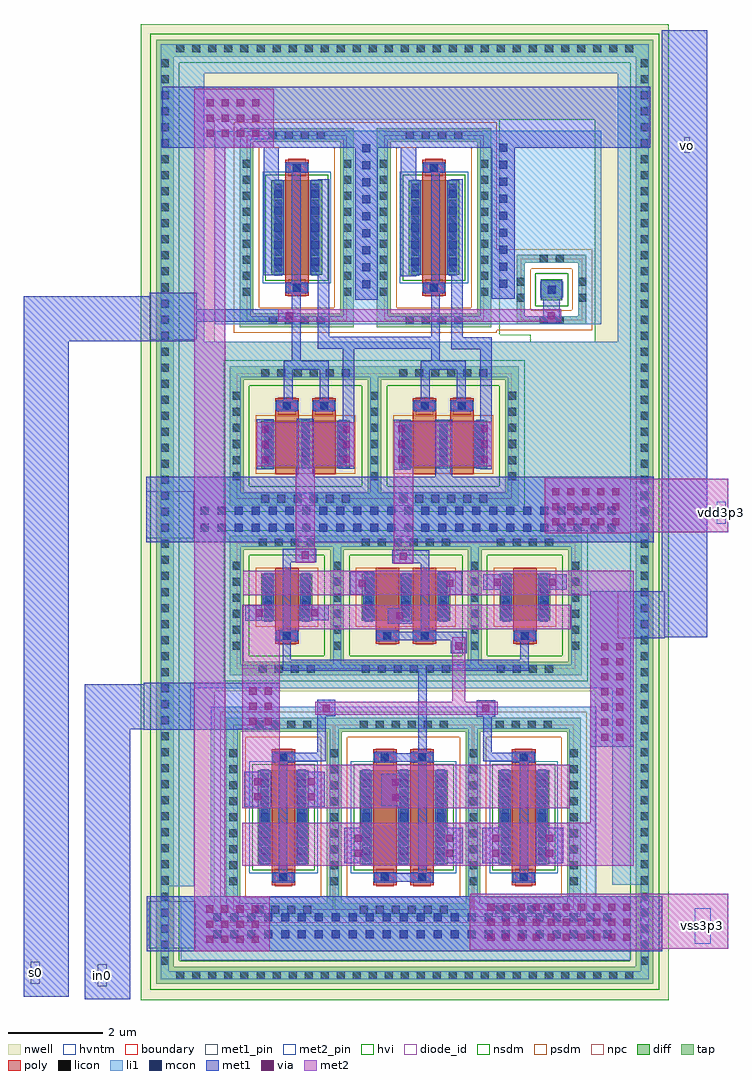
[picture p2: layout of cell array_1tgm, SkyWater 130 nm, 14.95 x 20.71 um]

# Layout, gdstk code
from math import pi, radians
import gdstk
lib = gdstk.Library(unit=1e-6, precision=1e-09)
def R(c, l, rs):  # rectangles x0, y0, x1, y1
    for r in rs: c.add(gdstk.rectangle(r[:2], r[2:], *l))
def A(c, l, x, y, w, h, nx, ny, dx, dy):  # array of equal rectangles
    R(c, l, [(x+i*dx, y+j*dy, x+i*dx+w, y+j*dy+h) for i in range(nx) for j in range(ny)])
nwell = (64, 20)
diff = (65, 20)
tap = (65, 44)
poly = (66, 20)
licon = (66, 44)
li1 = (67, 20)
mcon = (67, 44)
met1_pin = (68, 16)
met1 = (68, 20)
via = (68, 44)
met2_pin = (69, 16)
met2 = (69, 20)
hvi = (75, 20)
diode_id = (81, 23)
nsdm = (93, 44)
psdm = (94, 20)
npc = (95, 20)
hvntm = (125, 20)
boundary = (235, 4)

sky130_fd_pr__pfet_g5v0d = lib.new_cell('sky130_fd_pr__pfet_g5v0d10v5_U6NWY6')
R(sky130_fd_pr__pfet_g5v0d, nwell, [(-1.54,-1.81,1.54,1.81)])
R(sky130_fd_pr__pfet_g5v0d, diff, [(-0.54,-0.32,0.54,0.68)])
R(sky130_fd_pr__pfet_g5v0d, tap, [(-1.21,-1.48,1.21,-1.19), (-1.21,-1.19,-0.92,1.19), (0.92,-1.19,1.21,1.19), (-1.21,1.19,1.21,1.48)])
R(sky130_fd_pr__pfet_g5v0d, poly, [(-0.25,-0.805,0.25,0.81)])
A(sky130_fd_pr__pfet_g5v0d, licon, -0.595, -1.42, 0.17, 0.17, 4, 2, 0.34, 2.67)
A(sky130_fd_pr__pfet_g5v0d, licon, -1.15, -0.935, 0.17, 0.17, 1, 6, 0, 0.34)
A(sky130_fd_pr__pfet_g5v0d, licon, 0.98, -0.935, 0.17, 0.17, 1, 6, 0, 0.34)
A(sky130_fd_pr__pfet_g5v0d, licon, -0.48, -0.245, 0.17, 0.17, 1, 3, 0, 0.34)
A(sky130_fd_pr__pfet_g5v0d, licon, 0.31, -0.245, 0.17, 0.17, 1, 3, 0, 0.34)
R(sky130_fd_pr__pfet_g5v0d, licon, [(-0.085,-0.725,0.085,-0.555)])
R(sky130_fd_pr__pfet_g5v0d, li1, [(-1.15,-1.42,1.15,-1.25), (-1.15,-1.25,-0.98,1.25), (0.98,-1.25,1.15,1.25), (-0.25,-0.725,0.25,-0.555), (-0.48,-0.34,-0.31,0.7), (0.31,-0.34,0.48,0.7), (-1.15,1.25,1.15,1.42)])
R(sky130_fd_pr__pfet_g5v0d, mcon, [(-0.085,-0.725,0.085,-0.555), (-0.48,-0.085,-0.31,0.085), (0.31,-0.085,0.48,0.085), (-0.48,0.275,-0.31,0.445), (0.31,0.275,0.48,0.445)])
R(sky130_fd_pr__pfet_g5v0d, met1, [(-0.23,-0.755,0.23,-0.525), (-0.51,-0.32,-0.28,0.68), (0.28,-0.32,0.51,0.68)])
R(sky130_fd_pr__pfet_g5v0d, hvi, [(-1.54,-1.81,1.54,1.81)])
R(sky130_fd_pr__pfet_g5v0d, nsdm, [(-1.335,-1.605,1.335,-1.065), (-1.335,-1.065,-0.795,1.065), (0.795,-1.065,1.335,1.065), (-1.335,1.065,1.335,1.605)])
R(sky130_fd_pr__pfet_g5v0d, psdm, [(-0.665,-0.445,0.665,0.805)])
R(sky130_fd_pr__pfet_g5v0d, npc, [(-0.185,-0.825,0.185,-0.455)])
R(sky130_fd_pr__pfet_g5v0d, boundary, [(-1.065,-1.335,1.065,1.335)])

c_sky130_fd_pr__pfet_g5v0d = lib.new_cell('sky130_fd_pr__pfet_g5v0d10v5_U62SY6')
R(c_sky130_fd_pr__pfet_g5v0d, nwell, [(-1.935,-1.81,1.935,1.81)])
R(c_sky130_fd_pr__pfet_g5v0d, diff, [(-0.935,-0.32,0.935,0.68)])
R(c_sky130_fd_pr__pfet_g5v0d, tap, [(-1.605,-1.48,1.605,-1.19), (-1.605,-1.19,-1.315,1.19), (1.315,-1.19,1.605,1.19), (-1.605,1.19,1.605,1.48)])
R(c_sky130_fd_pr__pfet_g5v0d, poly, [(-0.645,-0.805,-0.145,0.81), (0.145,-0.805,0.645,0.81)])
A(c_sky130_fd_pr__pfet_g5v0d, licon, -0.935, -1.42, 0.17, 0.17, 6, 2, 0.34, 2.67)
A(c_sky130_fd_pr__pfet_g5v0d, licon, -1.545, -0.935, 0.17, 0.17, 1, 6, 0, 0.34)
A(c_sky130_fd_pr__pfet_g5v0d, licon, 1.375, -0.935, 0.17, 0.17, 1, 6, 0, 0.34)
A(c_sky130_fd_pr__pfet_g5v0d, licon, -0.875, -0.245, 0.17, 0.17, 3, 3, 0.79, 0.34)
R(c_sky130_fd_pr__pfet_g5v0d, licon, [(-0.48,-0.725,-0.31,-0.555), (0.31,-0.725,0.48,-0.555)])
A(c_sky130_fd_pr__pfet_g5v0d, li1, -0.875, -0.34, 0.17, 1.04, 3, 1, 0.79, 0)
R(c_sky130_fd_pr__pfet_g5v0d, li1, [(-1.545,-1.42,1.545,-1.25), (-1.545,-1.25,-1.375,1.25), (1.375,-1.25,1.545,1.25), (-0.645,-0.725,-0.145,-0.555), (0.145,-0.725,0.645,-0.555), (-1.545,1.25,1.545,1.42)])
A(c_sky130_fd_pr__pfet_g5v0d, mcon, -0.875, -0.085, 0.17, 0.17, 3, 2, 0.79, 0.36)
R(c_sky130_fd_pr__pfet_g5v0d, mcon, [(-0.48,-0.725,-0.31,-0.555), (0.31,-0.725,0.48,-0.555)])
A(c_sky130_fd_pr__pfet_g5v0d, met1, -0.905, -0.32, 0.23, 1, 3, 1, 0.79, 0)
R(c_sky130_fd_pr__pfet_g5v0d, met1, [(-0.625,-0.755,-0.165,-0.525), (0.165,-0.755,0.625,-0.525)])
R(c_sky130_fd_pr__pfet_g5v0d, hvi, [(-1.935,-1.81,1.935,1.81)])
R(c_sky130_fd_pr__pfet_g5v0d, nsdm, [(-1.73,-1.605,1.73,-1.065), (-1.73,-1.065,-1.19,1.065), (1.19,-1.065,1.73,1.065), (-1.73,1.065,1.73,1.605)])
R(c_sky130_fd_pr__pfet_g5v0d, psdm, [(-1.06,-0.445,1.06,0.805)])
R(c_sky130_fd_pr__pfet_g5v0d, npc, [(-0.58,-0.825,-0.21,-0.455), (0.21,-0.825,0.58,-0.455)])
R(c_sky130_fd_pr__pfet_g5v0d, boundary, [(-1.46,-1.335,1.46,1.335)])

sky130_fd_pr__nfet_g5v0d = lib.new_cell('sky130_fd_pr__nfet_g5v0d10v5_WSEQJ8')
R(sky130_fd_pr__nfet_g5v0d, diff, [(-0.54,-1,0.54,1)])
R(sky130_fd_pr__nfet_g5v0d, tap, [(-1.21,-2.11,1.21,-1.82), (-1.21,-1.82,-0.92,1.82), (0.92,-1.82,1.21,1.82), (-1.21,1.82,1.21,2.11)])
R(sky130_fd_pr__nfet_g5v0d, poly, [(-0.25,-1.44,0.25,1.44)])
A(sky130_fd_pr__nfet_g5v0d, licon, -0.595, -2.05, 0.17, 0.17, 4, 2, 0.34, 3.93)
A(sky130_fd_pr__nfet_g5v0d, licon, -1.15, -1.445, 0.17, 0.17, 1, 9, 0, 0.34)
A(sky130_fd_pr__nfet_g5v0d, licon, 0.98, -1.445, 0.17, 0.17, 1, 9, 0, 0.34)
A(sky130_fd_pr__nfet_g5v0d, licon, -0.48, -0.935, 0.17, 0.17, 1, 6, 0, 0.34)
A(sky130_fd_pr__nfet_g5v0d, licon, 0.31, -0.935, 0.17, 0.17, 1, 6, 0, 0.34)
R(sky130_fd_pr__nfet_g5v0d, licon, [(-0.085,-1.36,0.085,-1.19), (-0.085,1.19,0.085,1.36)])
R(sky130_fd_pr__nfet_g5v0d, li1, [(-1.15,-2.05,1.15,-1.88), (-1.15,-1.88,-0.98,1.88), (0.98,-1.88,1.15,1.88), (-0.25,-1.36,0.25,-1.19), (-0.48,-1.02,-0.31,1.02), (0.31,-1.02,0.48,1.02), (-0.25,1.19,0.25,1.36), (-1.15,1.88,1.15,2.05)])
A(sky130_fd_pr__nfet_g5v0d, mcon, -0.48, -0.805, 0.17, 0.17, 1, 5, 0, 0.36)
A(sky130_fd_pr__nfet_g5v0d, mcon, 0.31, -0.805, 0.17, 0.17, 1, 5, 0, 0.36)
R(sky130_fd_pr__nfet_g5v0d, mcon, [(-0.085,-1.36,0.085,-1.19), (-0.085,1.19,0.085,1.36)])
R(sky130_fd_pr__nfet_g5v0d, met1, [(-0.23,-1.39,0.23,-1.16), (-0.51,-1,-0.28,1), (0.28,-1,0.51,1), (-0.23,1.16,0.23,1.39)])
R(sky130_fd_pr__nfet_g5v0d, hvi, [(-1.395,-2.295,1.395,2.295)])
R(sky130_fd_pr__nfet_g5v0d, nsdm, [(-0.665,-1.125,0.665,1.125)])
R(sky130_fd_pr__nfet_g5v0d, psdm, [(-1.335,-2.235,1.335,-1.695), (-1.335,-1.695,-0.795,1.695), (0.795,-1.695,1.335,1.695), (-1.335,1.695,1.335,2.235)])
R(sky130_fd_pr__nfet_g5v0d, npc, [(-0.185,-1.46,0.185,-1.09), (-0.185,1.09,0.185,1.46)])
R(sky130_fd_pr__nfet_g5v0d, hvntm, [(-0.725,-1.185,0.725,1.185)])
R(sky130_fd_pr__nfet_g5v0d, boundary, [(-1.06,-1.96,1.06,1.96)])

c_sky130_fd_pr__nfet_g5v0d = lib.new_cell('sky130_fd_pr__nfet_g5v0d10v5_EJGQFX')
R(c_sky130_fd_pr__nfet_g5v0d, diff, [(-0.935,-1,0.935,1)])
R(c_sky130_fd_pr__nfet_g5v0d, tap, [(-1.605,-2.11,1.605,-1.82), (-1.605,-1.82,-1.315,1.82), (1.315,-1.82,1.605,1.82), (-1.605,1.82,1.605,2.11)])
R(c_sky130_fd_pr__nfet_g5v0d, poly, [(-0.645,-1.44,-0.145,1.44), (0.145,-1.44,0.645,1.44)])
A(c_sky130_fd_pr__nfet_g5v0d, licon, -0.935, -2.05, 0.17, 0.17, 6, 2, 0.34, 3.93)
A(c_sky130_fd_pr__nfet_g5v0d, licon, -0.875, -0.935, 0.17, 0.17, 3, 6, 0.79, 0.34)
R(c_sky130_fd_pr__nfet_g5v0d, licon, [(-0.48,-1.36,-0.31,-1.19), (0.31,-1.36,0.48,-1.19), (-0.48,1.19,-0.31,1.36), (0.31,1.19,0.48,1.36)])
A(c_sky130_fd_pr__nfet_g5v0d, li1, -0.875, -1.02, 0.17, 2.04, 3, 1, 0.79, 0)
R(c_sky130_fd_pr__nfet_g5v0d, li1, [(-1.545,-2.05,1.545,-1.88), (-1.545,-1.88,-1.375,1.88), (1.375,-1.88,1.545,1.88), (-0.645,-1.36,-0.145,-1.19), (0.145,-1.36,0.645,-1.19), (-0.645,1.19,-0.145,1.36), (0.145,1.19,0.645,1.36), (-1.545,1.88,1.545,2.05)])
A(c_sky130_fd_pr__nfet_g5v0d, mcon, -0.875, -0.805, 0.17, 0.17, 3, 5, 0.79, 0.36)
R(c_sky130_fd_pr__nfet_g5v0d, mcon, [(-0.48,-1.36,-0.31,-1.19), (0.31,-1.36,0.48,-1.19), (-0.48,1.19,-0.31,1.36), (0.31,1.19,0.48,1.36)])
A(c_sky130_fd_pr__nfet_g5v0d, met1, -0.905, -1, 0.23, 2, 3, 1, 0.79, 0)
R(c_sky130_fd_pr__nfet_g5v0d, met1, [(-0.625,-1.39,-0.165,-1.16), (0.165,-1.39,0.625,-1.16), (-0.625,1.16,-0.165,1.39), (0.165,1.16,0.625,1.39)])
R(c_sky130_fd_pr__nfet_g5v0d, hvi, [(-1.79,-2.295,1.79,2.295)])
R(c_sky130_fd_pr__nfet_g5v0d, nsdm, [(-1.06,-1.125,1.06,1.125)])
R(c_sky130_fd_pr__nfet_g5v0d, psdm, [(-1.73,-2.235,1.73,-1.695), (-1.73,-1.695,-1.19,1.695), (1.19,-1.695,1.73,1.695), (-1.73,1.695,1.73,2.235)])
R(c_sky130_fd_pr__nfet_g5v0d, npc, [(-0.58,-1.46,-0.21,-1.09), (0.21,-1.46,0.58,-1.09), (-0.58,1.09,-0.21,1.46), (0.21,1.09,0.58,1.46)])
R(c_sky130_fd_pr__nfet_g5v0d, hvntm, [(-1.12,-1.185,1.12,1.185)])
R(c_sky130_fd_pr__nfet_g5v0d, boundary, [(-1.46,-1.965,1.46,1.965)])

sky130_fd_pr__diode_pw2n = lib.new_cell('sky130_fd_pr__diode_pw2nd_05v5_FT76RJ')
R(sky130_fd_pr__diode_pw2n, diff, [(-0.225,-0.225,0.225,0.225)])
R(sky130_fd_pr__diode_pw2n, tap, [(-0.735,-0.735,0.735,-0.565), (-0.735,-0.565,-0.565,0.565), (0.565,-0.565,0.735,0.565), (-0.735,0.565,0.735,0.735)])
R(sky130_fd_pr__diode_pw2n, licon, [(-0.255,-0.735,-0.085,-0.565), (0.085,-0.735,0.255,-0.565), (-0.735,-0.255,-0.565,-0.085), (0.565,-0.255,0.735,-0.085), (-0.085,-0.085,0.085,0.085), (-0.735,0.085,-0.565,0.255), (0.565,0.085,0.735,0.255), (-0.255,0.565,-0.085,0.735), (0.085,0.565,0.255,0.735)])
R(sky130_fd_pr__diode_pw2n, li1, [(-0.735,-0.735,0.735,-0.565), (-0.735,-0.565,-0.565,0.565), (0.565,-0.565,0.735,0.565), (-0.245,-0.165,0.245,0.165), (-0.735,0.565,0.735,0.735)])
R(sky130_fd_pr__diode_pw2n, mcon, [(-0.085,-0.085,0.085,0.085)])
R(sky130_fd_pr__diode_pw2n, met1, [(-0.225,-0.195,0.225,0.195)])
R(sky130_fd_pr__diode_pw2n, diode_id, [(-0.225,-0.225,0.225,0.225)])
R(sky130_fd_pr__diode_pw2n, nsdm, [(-0.35,-0.35,0.35,0.35)])
R(sky130_fd_pr__diode_pw2n, psdm, [(-0.86,-0.86,0.86,-0.44), (-0.86,-0.44,-0.44,0.44), (0.44,-0.44,0.86,0.44), (-0.86,0.44,0.86,0.86)])
R(sky130_fd_pr__diode_pw2n, boundary, [(-0.65,-0.65,0.65,0.65)])

tg4dm = lib.new_cell('tg4dm')
R(tg4dm, nwell, [(1.505,-11.555,12.715,-9.97), (1.505,-9.97,3.08,1.865), (11.14,-9.97,12.715,-1.485), (9.785,-1.485,12.715,1.865), (1.505,1.865,12.715,2.41), (1.505,2.41,3.08,7.12), (11.14,2.41,12.715,7.12), (1.505,7.12,12.715,9.15)])
R(tg4dm, tap, [(1.835,-11.215,12.385,-10.845), (1.835,-10.845,2.205,8.45), (12.015,-10.845,12.385,8.45), (1.835,8.45,12.385,8.82)])
A(tg4dm, licon, 2.265, -11.115, 0.17, 0.17, 29, 2, 0.34, 19.665)
A(tg4dm, licon, 1.935, -10.805, 0.17, 0.17, 1, 57, 0, 0.34)
A(tg4dm, licon, 12.115, -10.805, 0.17, 0.17, 1, 57, 0, 0.34)
R(tg4dm, li1, [(1.935,-11.115,12.285,-10.945), (1.935,-10.945,2.105,-9.14), (12.115,-10.945,12.285,-9.105), (2.355,-10.715,11.89,-9.35), (2.995,-9.35,3.57,-5.775), (10.6,-9.35,11.175,-5.775), (1.935,-9.14,2.64,-4.94), (11.51,-9.105,12.285,-4.94), (2.995,-5.775,11.175,-5.33), (1.935,-4.94,12.285,-4.47), (1.935,-4.47,3.56,-1.87), (10.7,-4.47,12.285,-1.87), (1.935,-1.87,12.285,-0.79), (1.935,-0.79,3.56,1.71), (9.35,-0.79,12.285,1.71), (1.935,1.71,12.285,2.41), (1.935,2.41,2.855,8.105), (11.625,2.41,12.285,8.105), (3.08,2.78,3.84,6.88), (5.845,2.78,6.715,6.885), (8.765,2.78,9.635,4.235), (10.82,2.78,11.275,4.235), (8.765,4.235,11.275,6.885), (1.935,8.105,12.285,8.72)])
A(tg4dm, mcon, 3.045, -10.245, 0.17, 0.17, 24, 2, 0.36, 0.36)
A(tg4dm, mcon, 2.78, -1.625, 0.17, 0.17, 25, 2, 0.36, 0.36)
A(tg4dm, mcon, 6.21, 3.545, 0.17, 0.17, 1, 9, 0, 0.36)
A(tg4dm, mcon, 9.115, 3.555, 0.17, 0.17, 1, 9, 0, 0.36)
R(tg4dm, met1_pin, [(1.68,-10.455,2.68,-9.455), (1.57,-5.82,2.57,-4.82), (11.63,-3.88,12.63,-2.88), (1.63,-1.76,2.63,-0.76), (1.7,2.45,2.7,3.45)])
R(tg4dm, met1, [(1.64,-10.525,12.575,-9.35), (6.735,-9.045,7.575,-8.865), (9.55,-8.93,9.73,-6.49), (4.435,-8.92,4.615,-6.485), (7.395,-8.865,7.575,-6.5), (5.83,-8.65,6.41,-7.905), (7.76,-8.65,8.34,-7.905), (8.75,-8.65,9.33,-7.905), (9.89,-8.65,10.47,-7.905), (3.7,-7.455,4.28,-6.71), (4.835,-7.455,5.415,-6.71), (6.615,-7.44,7.2,-6.76), (6.61,-6.5,7.575,-6.32), (8.78,-6.49,9.745,-6.31), (4.435,-6.485,5.435,-6.445), (4.47,-6.445,5.435,-6.305), (7.395,-6.32,7.575,-4.575), (8.78,-6.31,8.96,-5.545), (5.255,-6.305,5.435,-5.535), (11.045,-6.18,11.965,-3.88), (1.57,-5.82,4.455,-4.82), (8.64,-5.545,9.025,-5.195), (5.255,-5.535,5.64,-5.185), (4.52,-4.575,9.74,-4.335), (4.52,-4.335,4.695,-2.265), (9.565,-4.335,9.74,-3.8), (8.085,-4.195,8.425,-3.925), (6.67,-3.925,8.425,-3.745), (11.045,-3.88,12.63,-2.88), (7.445,-3.745,7.625,-2.29), (6.75,-3.57,7.26,-3.24), (3.725,-3.505,4.335,-3.18), (4.885,-3.5,5.495,-3.175), (5.95,-2.955,6.46,-2.475), (7.81,-2.955,8.32,-2.475), (8.775,-2.85,9.38,-2.525), (9.94,-2.85,10.545,-2.525), (6.85,-2.29,7.625,-2.01), (4.52,-2.265,5.23,-1.985), (1.63,-1.84,12.39,-0.46), (4.82,-0.46,5.18,0.78), (7.76,-0.46,8.12,0.755), (6.875,-0.305,7.24,0.755), (3.965,-0.295,4.33,0.765), (8.715,-0.295,8.96,-0.22), (5.79,-0.285,6.035,-0.225), (5.735,-0.225,6.035,0.695), (8.66,-0.22,8.96,0.7), (5.79,0.695,6.035,2.265), (8.715,0.7,8.96,2.255), (4.545,1,4.73,1.82), (5.31,1,5.495,1.82), (7.45,1,7.635,1.82), (8.215,1,8.4,1.82), (4.545,1.82,5.495,2.005), (7.45,1.82,8.4,2.005), (4.715,2.005,4.9,2.835), (7.67,2.005,7.855,2.265), (8.1,2.255,8.96,2.5), (5.26,2.265,7.855,2.51), (1.7,2.45,2.7,2.835), (8.1,2.5,8.345,5.855), (5.26,2.51,5.505,5.86), (7.67,2.51,7.855,6.16), (10.045,2.805,10.4,3.695), (1.7,2.835,4.9,3.095), (1.7,3.095,2.7,3.45), (4.715,3.095,4.9,6.155), (6.055,3.295,6.54,6.53), (8.955,3.32,9.44,6.53), (7.03,3.8,7.35,6.53), (4.12,3.82,4.44,6.53), (1.965,6.53,12.315,7.815)])
A(tg4dm, via, 2.9, -10.34, 0.15, 0.15, 4, 3, 0.32, 0.32)
A(tg4dm, via, 11.275, -6.055, 0.15, 0.15, 1, 7, 0, 0.32)
A(tg4dm, via, 11.595, -6.055, 0.15, 0.15, 1, 7, 0, 0.32)
A(tg4dm, via, 3.815, -5.715, 0.15, 0.15, 1, 3, 0, 0.32)
A(tg4dm, via, 4.135, -5.715, 0.15, 0.15, 1, 3, 0, 0.32)
A(tg4dm, via, 4.075, -0.165, 0.15, 0.15, 1, 3, 0, 0.32)
A(tg4dm, via, 5.795, -0.16, 0.15, 0.15, 1, 3, 0, 0.32)
A(tg4dm, via, 6.97, -0.155, 0.15, 0.15, 1, 3, 0, 0.32)
A(tg4dm, via, 8.72, -0.155, 0.15, 0.15, 1, 3, 0, 0.32)
A(tg4dm, via, 2.91, 6.76, 0.15, 0.15, 4, 3, 0.32, 0.32)
R(tg4dm, via, [(6.045,-8.515,6.195,-8.365), (7.975,-8.515,8.125,-8.365), (8.965,-8.515,9.115,-8.365), (10.105,-8.515,10.255,-8.365), (6.045,-8.195,6.195,-8.045), (7.975,-8.195,8.125,-8.045), (8.965,-8.195,9.115,-8.045), (10.105,-8.195,10.255,-8.045), (6.83,-7.335,6.98,-7.185), (3.915,-7.32,4.065,-7.17), (5.05,-7.32,5.2,-7.17), (6.83,-7.015,6.98,-6.865), (3.915,-7,4.065,-6.85), (5.05,-7,5.2,-6.85), (5.37,-5.44,5.52,-5.29), (8.755,-5.44,8.905,-5.29), (8.18,-4.12,8.33,-3.97), (6.93,-3.48,7.08,-3.33), (3.95,-3.42,4.1,-3.27), (5.115,-3.415,5.265,-3.265), (6.13,-2.79,6.28,-2.64), (7.99,-2.79,8.14,-2.64), (9,-2.765,9.15,-2.615), (10.165,-2.765,10.315,-2.615), (7.005,-2.22,7.155,-2.07), (4.92,-2.19,5.07,-2.04), (4.59,2.89,4.74,3.04), (10.145,2.89,10.295,3.04)])
R(tg4dm, met2, [(2.645,-10.525,4.245,-9.35), (2.645,-9.35,3.3,6.53), (3.665,-8.71,11.965,-7.79), (11.045,-7.79,11.965,-2.965), (3.66,-7.485,10.61,-6.565), (3.66,-6.565,4.455,-3.69), (5.215,-5.505,9.08,-5.225), (8.115,-5.225,8.395,-3.86), (3.66,-3.69,10.635,-3.17), (3.68,-2.965,11.965,-2.445), (6.88,-2.305,7.285,-0.23), (4.795,-2.275,5.2,-0.235), (3.975,-0.235,6.035,0.705), (6.88,-0.23,8.96,0.71), (4.43,2.835,10.435,3.095), (2.645,6.53,4.335,7.78)])
R(tg4dm, hvi, [(1.505,-11.555,12.715,-9.97), (1.505,-9.97,3.14,-5.385), (11.03,-9.97,12.715,-5.385), (1.505,-5.385,12.715,-5), (1.505,-5,3.08,1.715), (11.14,-5,12.715,-1.485), (9.785,-1.485,12.715,1.715), (1.505,1.715,12.715,2.41), (1.505,2.41,9.785,2.56), (11.14,2.41,12.715,7.12), (1.505,2.56,3.425,7.12), (6.215,2.56,6.335,7.12), (1.505,7.12,12.715,9.15)])
R(tg4dm, nsdm, [(1.71,-11.34,12.51,-10.72), (1.71,-10.72,2.33,8.325), (11.89,-10.72,12.51,8.325), (1.71,8.325,12.51,8.945)])
R(tg4dm, psdm, [(6.155,2.595,6.395,7.065), (9.065,2.655,9.365,4.375)])
tg4dm.add(gdstk.Reference(sky130_fd_pr__pfet_g5v0d, (4.61,-3.19)))
tg4dm.add(gdstk.Reference(c_sky130_fd_pr__pfet_g5v0d, (7.135,-3.19)))
tg4dm.add(gdstk.Reference(sky130_fd_pr__nfet_g5v0d, (4.535,-7.68), rotation=pi, x_reflection=True))
tg4dm.add(gdstk.Reference(c_sky130_fd_pr__nfet_g5v0d, (7.085,-7.68), rotation=pi, x_reflection=True))
tg4dm.add(gdstk.Reference(sky130_fd_pr__pfet_g5v0d, (9.66,-3.19)))
tg4dm.add(gdstk.Reference(sky130_fd_pr__nfet_g5v0d, (9.635,-7.68)))
tg4dm.add(gdstk.Reference(c_sky130_fd_pr__pfet_g5v0d, (7.925,0.41), x_reflection=True))
tg4dm.add(gdstk.Reference(c_sky130_fd_pr__pfet_g5v0d, (5.005,0.41), x_reflection=True))
tg4dm.add(gdstk.Reference(sky130_fd_pr__nfet_g5v0d, (7.73,4.83), x_reflection=True))
tg4dm.add(gdstk.Reference(sky130_fd_pr__nfet_g5v0d, (4.82,4.83), x_reflection=True))
tg4dm.add(gdstk.Reference(sky130_fd_pr__diode_pw2n, (10.225,3.515), x_reflection=True))
tg4dm.add(gdstk.Label('holdb', (6.355,2.39), layer=68, texttype=5))
tg4dm.add(gdstk.Label('holdp', (8.525,2.365), layer=68, texttype=5))
tg4dm.add(gdstk.Label('hold', (2.2,2.95), layer=68, texttype=5))
tg4dm.add(gdstk.Label('vss', (2.18,-9.955), layer=68, texttype=5))
tg4dm.add(gdstk.Label('out', (12.13,-3.38), layer=68, texttype=5))
tg4dm.add(gdstk.Label('in', (2.07,-5.32), layer=68, texttype=5))
tg4dm.add(gdstk.Label('vdd', (2.13,-1.26), layer=68, texttype=5))

array_1tgm = lib.new_cell('array_1tgm')
R(array_1tgm, met1_pin, [(11.05,0.29,11.24,0.76), (9.63,0.34,9.82,0.81), (23.49,17.97,23.61,18.3)])
R(array_1tgm, met1, [(10.78,0.02,11.74,5.74), (9.48,0.07,10.44,13.97), (19.23,1.19,22.44,2.11), (10.78,5.74,13.015,6.7), (22.09,7.7,23.98,8.66), (23.02,8.66,23.98,20.57), (20.6,9.98,22.21,10.95), (9.48,13.97,13.105,14.93)])
A(array_1tgm, via, 19.32, 1.255, 0.15, 0.15, 10, 3, 0.32, 0.32)
A(array_1tgm, via, 20.69, 10.07, 0.15, 0.15, 5, 3, 0.32, 0.32)
R(array_1tgm, met2_pin, [(23.72,1.19,24.06,1.95), (24.18,10.1,24.37,10.57)])
R(array_1tgm, met2, [(18.94,1.07,23.01,1.09), (18.94,1.09,24.43,2.19), (18.95,2.19,24.43,2.25), (20.54,9.9,22.33,9.92), (20.54,9.92,24.43,11.06), (20.54,11.06,22.33,11.07)])
array_1tgm.add(gdstk.Reference(tg4dm, (10.455,11.555)))
array_1tgm.add(gdstk.Label('vss3p3', (23.89,1.57), layer=69, texttype=5))
array_1tgm.add(gdstk.Label('vdd3p3', (24.275,10.335), layer=69, texttype=5))
array_1tgm.add(gdstk.Label('s0', (9.725,0.575), layer=68, texttype=5))
array_1tgm.add(gdstk.Label('in0', (11.145,0.525), layer=68, texttype=5))
array_1tgm.add(gdstk.Label('vo', (23.55,18.135), layer=68, texttype=5))

lib.write_gds('array_1tgm.gds')
